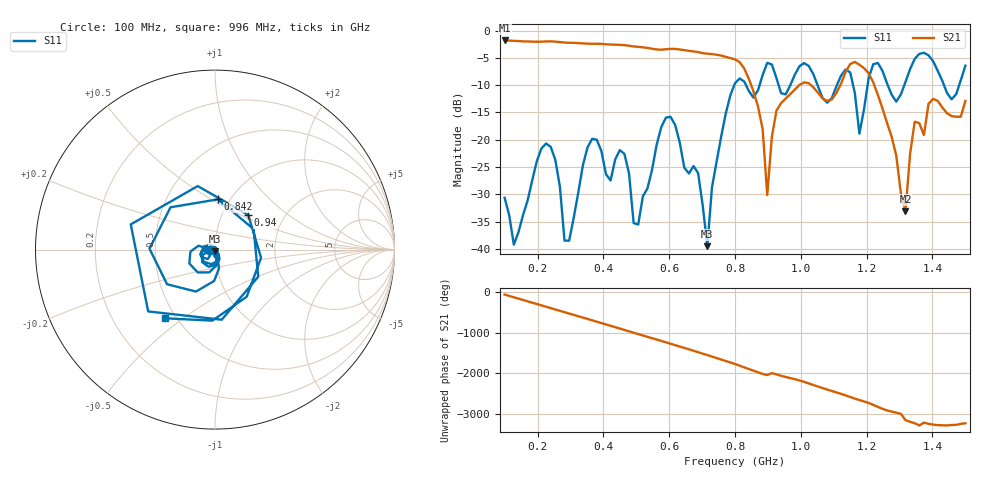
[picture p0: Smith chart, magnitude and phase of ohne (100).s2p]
! NanoVNA-App
! Date: 2025-09-26 09:56:10
! Start: 100MHz Stop: 1,5GHz Points: 101
! S-Parameter data: F S11 S21 S12 S22
# Hz S RI R 50
!  Frequency  S11_Real  S11_Imag  S21_Real  S21_Imag  S12_Real  S12_Imag  S22_Real  S22_Imag
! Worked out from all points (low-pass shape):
!   101 points, 100 MHz to 1.5 GHz, reference 50 ohm
!   highest |S21| = -1.79 dB at 100 MHz (marker M1); lowest = -33.1 dB at 1.318 GHz (marker M2)
!   |S21| within 3 dB of the highest: start of sweep to 771.6 MHz
!   lowest |S11| = -39.5 dB at 716 MHz (marker M3), VSWR 1.02, Z = 49.9 - j1.05 ohm
!   |S11| at or under -10 dB: start of sweep to 797.7 MHz; 833.5 MHz to 874.6 MHz (41.09 MHz wide, 4.81 % of centre); 1.051 GHz to 1.11 GHz (58.64 MHz wide, 5.43 % of centre) (the widest 3 of 7)
!   S12 and S22 are empty: the file has one direction only
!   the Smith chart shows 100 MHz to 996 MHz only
!   S11 on the Smith chart (normalised r, x): 100 MHz: 0.94, -0.01; 842 MHz: 0.88, +0.54; 940 MHz: 1.32, +0.55; 996 MHz: 0.44, -0.43
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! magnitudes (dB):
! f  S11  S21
! 100 MHz  -30.6  -1.8
! 128 MHz  -39.2  -1.9
! 226 MHz  -20.7  -2.0
! 296 MHz  -38.5  -2.2
! 338 MHz  -24.6  -2.3
! 464 MHz  -22.6  -2.7
! 506 MHz  -35.5  -3.0
! 576 MHz  -17.7  -3.5
! 716 MHz  -39.5  -4.2
! 800 MHz  -9.6  -5.3
! 842 MHz  -11.0  -8.8
! 898 MHz  -5.9  -30.1
! 940 MHz  -11.5  -13.3
! 996 MHz  -6.5  -9.9
! 1.038 GHz  -8.0  -10.4
! 1.15 GHz  -7.7  -6.1
! 1.178 GHz  -18.9  -6.2
! 1.22 GHz  -6.1  -9.5
! 1.276 GHz  -11.7  -19.5
! 1.318 GHz  -9.4  -33.1
! 1.346 GHz  -5.2  -16.7
! 1.5 GHz  -6.4  -12.9
